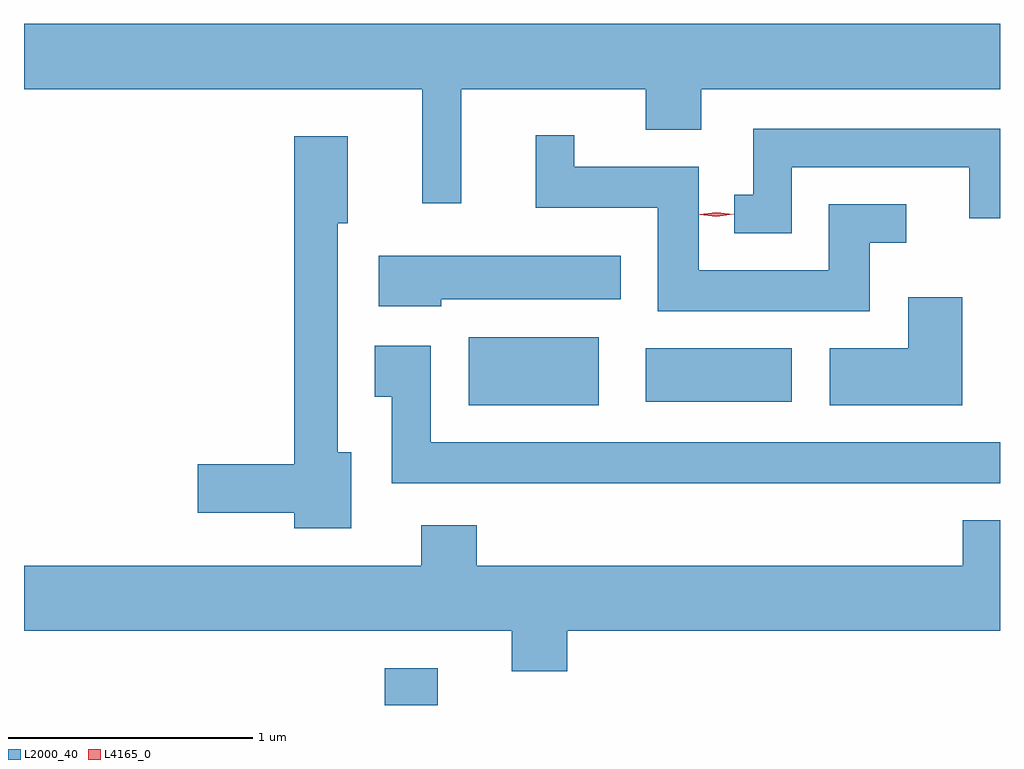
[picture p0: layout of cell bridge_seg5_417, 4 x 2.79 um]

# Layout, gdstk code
import gdstk
lib = gdstk.Library(unit=1e-6, precision=1e-09)
def R(c, l, rs):  # rectangles x0, y0, x1, y1
    for r in rs: c.add(gdstk.rectangle(r[:2], r[2:], *l))
def P(c, l, *ps):  # polygons
    for p in ps: c.add(gdstk.Polygon(p, *l))
L2000_40 = (2000, 40)
L4165_0 = (4165, 0)

bridge_seg5_417 = lib.new_cell('bridge_seg5_417')
R(bridge_seg5_417, L2000_40, [(368.101,1503.112,368.319,1503.264), (368.446,1504.341,368.979,1504.619), (369.171,1504.356,369.769,1504.574)])
P(bridge_seg5_417, L2000_40, [(368.414,1505.636),(369.171,1505.636),(369.171,1505.471),(369.399,1505.471),(369.399,1505.636),(370.623,1505.636),(370.623,1505.904),(366.623,1505.904),(366.623,1505.636),(368.256,1505.636),(368.256,1505.168),(368.414,1505.168)],
  [(369.769,1505.316),(370.496,1505.316),(370.496,1505.108),(370.623,1505.108),(370.623,1505.474),(369.611,1505.474),(369.611,1505.204),(369.533,1505.204),(369.533,1505.046),(369.769,1505.046)],
  [(370.089,1505.006),(370.238,1505.006),(370.238,1505.164),(369.921,1505.164),(369.921,1504.894),(369.389,1504.894),(369.389,1505.319),(368.879,1505.319),(368.879,1505.448),(368.721,1505.448),(368.721,1505.151),(369.221,1505.151),(369.221,1504.726),(370.089,1504.726)],
  [(367.964,1504.149),(367.909,1504.149),(367.909,1505.086),(367.949,1505.086),(367.949,1505.444),(367.731,1505.444),(367.731,1504.099),(367.336,1504.099),(367.336,1503.901),(367.731,1503.901),(367.731,1503.836),(367.964,1503.836)],
  [(368.334,1504.776),(369.069,1504.776),(369.069,1504.954),(368.076,1504.954),(368.076,1504.746),(368.334,1504.746)],
  [(370.469,1504.784),(370.246,1504.784),(370.246,1504.574),(369.926,1504.574),(369.926,1504.341),(370.469,1504.341)],
  [(370.623,1504.189),(368.289,1504.189),(368.289,1504.584),(368.061,1504.584),(368.061,1504.376),(368.131,1504.376),(368.131,1504.021),(370.623,1504.021)],
  [(368.849,1503.416),(370.623,1503.416),(370.623,1503.869),(370.471,1503.869),(370.471,1503.684),(368.479,1503.684),(368.479,1503.849),(368.251,1503.849),(368.251,1503.684),(366.623,1503.684),(366.623,1503.416),(368.621,1503.416),(368.621,1503.251),(368.849,1503.251)])
P(bridge_seg5_417, L4165_0, [(369.461,1505.113),(369.392,1505.122),(369.392,1505.123),(369.392,1505.123),(369.461,1505.133),(369.531,1505.124),(369.531,1505.124),(369.531,1505.123)])

lib.write_gds('bridge_seg5_417.gds')
